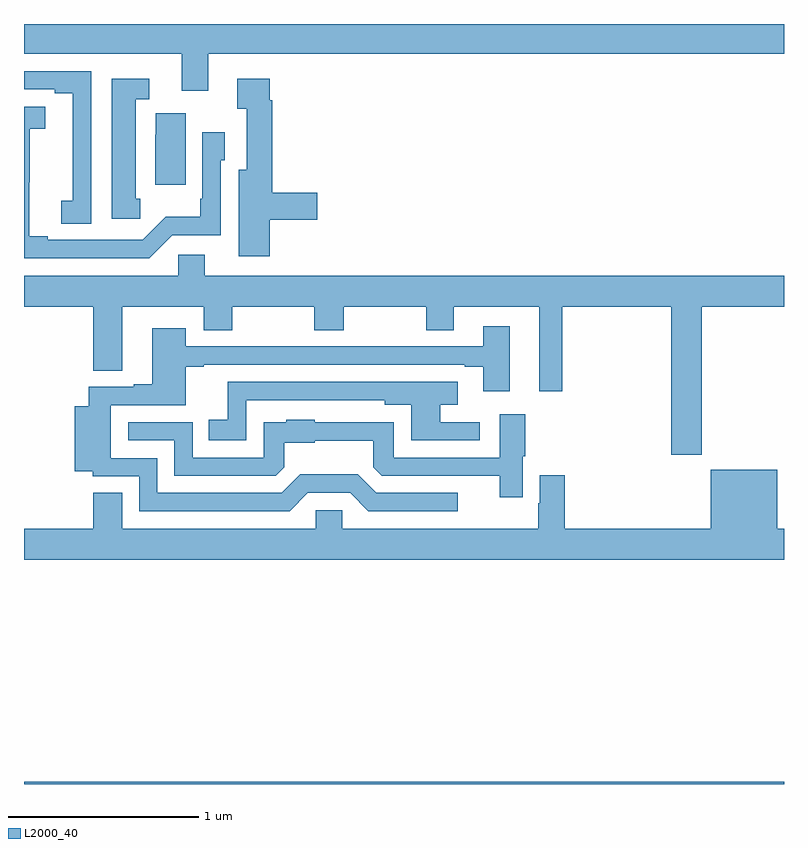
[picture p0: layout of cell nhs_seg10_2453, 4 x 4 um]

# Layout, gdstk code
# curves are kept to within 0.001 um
import gdstk
lib = gdstk.Library(unit=1e-6, precision=1e-09)
def R(c, l, rs):  # rectangles x0, y0, x1, y1
    for r in rs: c.add(gdstk.rectangle(r[:2], r[2:], *l))
def P(c, l, *ps):  # polygons
    for p in ps: c.add(gdstk.Polygon(p, *l))
L2000_40 = (2000, 40)

nhs_seg10_2453 = lib.new_cell('nhs_seg10_2453')
R(nhs_seg10_2453, L2000_40, [(243,1268.5,247,1268.512)])
P(nhs_seg10_2453, L2000_40, [(243.97,1272.344),(247,1272.344),(247,1272.5),(243,1272.5),(243,1272.344),(243.83,1272.344),(243.83,1272.15),(243.97,1272.15)],
  [(243.354,1272.252),(243,1272.252),(243,1272.156),(243.161,1272.156),(243.161,1272.136),(243.257,1272.136),(243.257,1271.873),(243.256,1271.873),(243.256,1271.569),(243.195,1271.569),(243.195,1271.449),(243.354,1271.449)],
  [(243.611,1271.58),(243.589,1271.58),(243.589,1272.103),(243.658,1272.103),(243.658,1272.211),(243.461,1272.211),(243.461,1271.475),(243.611,1271.475)],
  [(244.294,1271.47),(244.543,1271.47),(244.543,1271.612),(244.307,1271.612),(244.307,1272.098),(244.294,1272.098),(244.294,1272.211),(244.122,1272.211),(244.122,1272.055),(244.172,1272.055),(244.172,1271.734),(244.13,1271.734),(244.13,1271.277),(244.294,1271.277)],
  [(243.78,1271.388),(244.035,1271.388),(244.035,1271.784),(244.056,1271.784),(244.056,1271.929),(243.939,1271.929),(243.939,1271.581),(243.927,1271.581),(243.927,1271.485),(243.745,1271.485),(243.624,1271.364),(243.124,1271.364),(243.124,1271.384),(243.028,1271.384),(243.03,1271.95),(243.112,1271.95),(243.112,1272.065),(243,1272.065),(243,1271.268),(243.66,1271.268)],
  [(243.85,1272.031),(243.694,1272.031),(243.694,1271.918),(243.692,1271.918),(243.692,1271.655),(243.85,1271.655)],
  [(246.567,1271.012),(247,1271.012),(247,1271.176),(243.952,1271.176),(243.952,1271.286),(243.813,1271.286),(243.813,1271.176),(243,1271.176),(243,1271.012),(243.365,1271.012),(243.365,1270.675),(243.517,1270.675),(243.517,1271.012),(243.947,1271.012),(243.947,1270.888),(244.095,1270.888),(244.095,1271.012),(244.528,1271.012),(244.528,1270.888),(244.683,1270.888),(244.683,1271.012),(245.116,1271.012),(245.116,1270.888),(245.263,1270.888),(245.263,1271.012),(245.711,1271.012),(245.711,1270.566),(245.833,1270.566),(245.833,1271.012),(246.407,1271.012),(246.407,1270.233),(246.567,1270.233)],
  [(244.494,1270.032),(244.716,1270.032),(244.812,1269.936),(245.284,1269.936),(245.284,1270.032),(244.854,1270.032),(244.757,1270.13),(244.453,1270.129),(244.356,1270.032),(243.702,1270.032),(243.702,1270.215),(243.457,1270.215),(243.457,1270.494),(243.85,1270.494),(243.85,1270.695),(243.946,1270.695),(243.946,1270.707),(245.321,1270.707),(245.321,1270.695),(245.417,1270.695),(245.417,1270.566),(245.557,1270.566),(245.557,1270.909),(245.417,1270.909),(245.417,1270.803),(245.027,1270.803),(245.027,1270.805),(244.771,1270.805),(244.771,1270.803),(244.439,1270.803),(244.439,1270.805),(244.183,1270.805),(244.183,1270.803),(243.85,1270.803),(243.85,1270.9),(243.674,1270.9),(243.674,1270.603),(243.578,1270.603),(243.578,1270.59),(243.34,1270.59),(243.34,1270.489),(243.266,1270.489),(243.266,1270.145),(243.363,1270.145),(243.363,1270.119),(243.606,1270.119),(243.606,1269.936),(244.398,1269.936)],
  [(244.17,1270.521),(244.899,1270.521),(244.899,1270.496),(245.039,1270.496),(245.039,1270.308),(245.398,1270.308),(245.398,1270.404),(245.19,1270.404),(245.19,1270.496),(245.284,1270.496),(245.284,1270.618),(245.043,1270.618),(245.043,1270.617),(244.072,1270.617),(244.072,1270.417),(243.973,1270.417),(243.973,1270.308),(244.17,1270.308)],
  [(245.626,1270.225),(245.639,1270.225),(245.639,1270.447),(245.504,1270.447),(245.504,1270.218),(244.947,1270.218),(244.947,1270.404),(244.53,1270.404),(244.53,1270.417),(244.38,1270.417),(244.38,1270.405),(244.263,1270.405),(244.263,1270.218),(243.888,1270.218),(243.888,1270.404),(243.549,1270.404),(243.549,1270.308),(243.792,1270.308),(243.792,1270.122),(244.326,1270.122),(244.371,1270.167),(244.371,1270.295),(244.53,1270.295),(244.53,1270.307),(244.839,1270.307),(244.839,1270.167),(244.884,1270.122),(245.504,1270.122),(245.504,1270.008),(245.626,1270.008)],
  [(247,1269.844),(246.964,1269.844),(246.964,1270.153),(246.614,1270.153),(246.614,1269.844),(245.846,1269.844),(245.846,1270.126),(245.714,1270.126),(245.714,1269.977),(245.707,1269.977),(245.707,1269.844),(244.674,1269.844),(244.674,1269.942),(244.536,1269.942),(244.536,1269.844),(243.517,1269.844),(243.517,1270.034),(243.365,1270.034),(243.365,1269.844),(243,1269.844),(243,1269.68),(247,1269.68)])

lib.write_gds('nhs_seg10_2453.gds')
